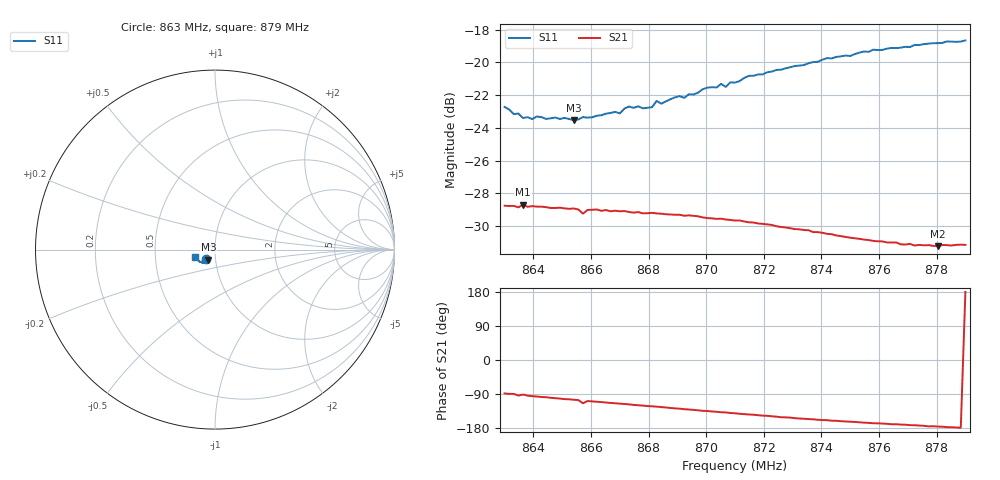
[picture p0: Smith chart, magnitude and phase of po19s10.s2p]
# HZ S RI R 50
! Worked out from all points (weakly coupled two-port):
!   101 points, 863 MHz to 879 MHz, reference 50 ohm
!   highest |S21| = -28.69 dB at 863.64 MHz (marker M1); lowest = -31.2 dB at 878.04 MHz (marker M2)
!   lowest |S11| = -23.5 dB at 865.4 MHz (marker M3), VSWR 1.14, Z = 46.2 - j5.18 ohm
!   |S11| at or under -10 dB: start of sweep to end of sweep
!   S12 and S22 are empty: the file has one direction only
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8.63e8  -0.0487 -0.0545  0.00109 -0.0365  0 0  0 0
8.6332e8  -0.0426 -0.0549  0.000352 -0.0365  0 0  0 0
8.6348e8  -0.0429 -0.0551  -0.00244 -0.036  0 0  0 0
8.6364e8  -0.0389 -0.0553  -0.000704 -0.0368  0 0  0 0
8.654e8  -0.0364 -0.0558  -0.00917 -0.0346  0 0  0 0
8.6572e8  -0.0355 -0.0581  -0.0141 -0.0315  0 0  0 0
8.662e8  -0.0367 -0.0581  -0.0123 -0.0333  0 0  0 0
8.67e8  -0.0356 -0.0601  -0.0149 -0.0318  0 0  0 0
8.6732e8  -0.0388 -0.0622  -0.0159 -0.0311  0 0  0 0
8.6812e8  -0.0367 -0.0631  -0.0185 -0.0294  0 0  0 0
8.6828e8  -0.0379 -0.0662  -0.0189 -0.029  0 0  0 0
8.6844e8  -0.0367 -0.0651  -0.0194 -0.0285  0 0  0 0
8.7004e8  -0.0435 -0.0715  -0.0235 -0.0238  0 0  0 0
8.7052e8  -0.0457 -0.0729  -0.0247 -0.0223  0 0  0 0
8.7068e8  -0.0448 -0.0713  -0.0248 -0.022  0 0  0 0
8.7084e8  -0.0478 -0.0726  -0.0253 -0.0213  0 0  0 0
8.71e8  -0.0485 -0.0719  -0.0254 -0.0209  0 0  0 0
8.7148e8  -0.0525 -0.0743  -0.0262 -0.0192  0 0  0 0
8.7372e8  -0.0676 -0.074  -0.0278 -0.0121  0 0  0 0
8.7644e8  -0.092 -0.0616  -0.0277 -0.0051  0 0  0 0
8.7804e8  -0.1034 -0.049  -0.0274 -0.0021  0 0  0 0
8.79e8  -0.1099 -0.039  -0.0277 0.000199  0 0  0 0
